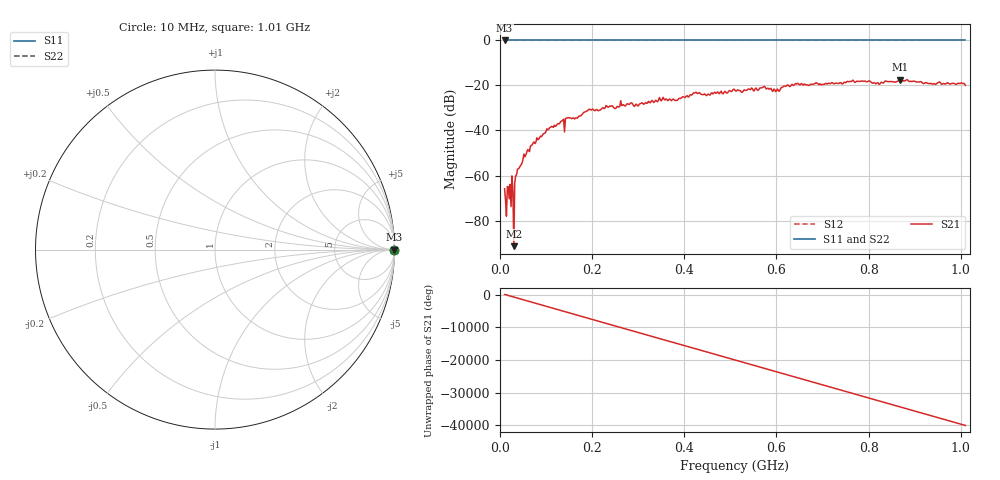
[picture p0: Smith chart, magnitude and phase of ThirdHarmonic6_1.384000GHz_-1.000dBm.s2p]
! 8/16/2025 3:44:45 PM
! C:\ANRITSUVNA\TEMP\TEMP.S2P
! CHANNEL.1
! TR.MEASUREMENT
! RAW.DATA
! RF.CORRECTION.OFF
! AVERAGING.OFF
! IF.BANDWIDTH: 5KHZ
! SWEEPTYPE:  FREQ.SWEEP(Linear)
! Reference Plane Port Info
! PORT:  PORT1  PORT2
! DISTANCE:  0  m  0  m
! TIME:  0  s  0  s
! PHASE.OFFSET:  0  deg.  0  deg.
! LOSS:  0  dB  0  dB
! REF.LOSS:  0  dB  0  dB
! REF.FREQ:  0  Hz  0  Hz
! Power Info
! POWER:  -20  dBm  -20  dBm
! EFF.POWER:  -20  dBm  -20  dBm
! SOURCE.ATTEN:  0  dB  0  dB
! TEST.ATTEN:  0  dB  0  dB
# GHZ S RI R 50.0
! FREQ.GHZ  S11RE  S11IM  S21RE  S21IM  S12RE  S12IM  S22RE  S22IM
!; PortSelection: Port_12
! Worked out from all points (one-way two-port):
!   501 points, 10 MHz to 1.01 GHz, reference 50 ohm
!   highest |S21| = -17.40 dB at 868 MHz (marker M1); lowest = -91.4 dB at 30 MHz (marker M2)
!   lowest |S11| = 0.0 dB at 10 MHz (marker M3)
!   |S11| at or under -10 dB: nowhere
!   |S22| runs from 0.0 to 0.0 dB; largest |S21 - S12| = 1.1
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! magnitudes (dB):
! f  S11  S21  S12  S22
! 10 MHz  0.0  -65.9  0.0  0.0
! 16 MHz  0.0  -64.9  0.0  0.0
! 22 MHz  0.0  -63.9  0.0  0.0
! 28 MHz  0.0  -67.0  0.0  0.0
! 30 MHz  0.0  -91.4  0.0  0.0
! 34 MHz  0.0  -60.2  0.0  0.0
! 36 MHz  0.0  -59.6  0.0  0.0
! 38 MHz  0.0  -57.1  0.0  0.0
! 70 MHz  0.0  -46.3  0.0  0.0
! 106 MHz  0.0  -39.4  0.0  0.0
! 146 MHz  0.0  -34.4  0.0  0.0
! 178 MHz  0.0  -33.0  0.0  0.0
! 196 MHz  0.0  -30.8  0.0  0.0
! 344 MHz  0.0  -26.5  0.0  0.0
! 510 MHz  0.0  -22.1  0.0  0.0
! 572 MHz  0.0  -20.6  0.0  0.0
! 602 MHz  0.0  -21.6  0.0  0.0
! 620 MHz  0.0  -20.4  0.0  0.0
! 678 MHz  0.0  -19.5  0.0  0.0
! 844 MHz  0.0  -18.3  0.0  0.0
! 868 MHz  0.0  -17.4  0.0  0.0
! 1.01 GHz  0.0  -19.9  0.0  0.0
